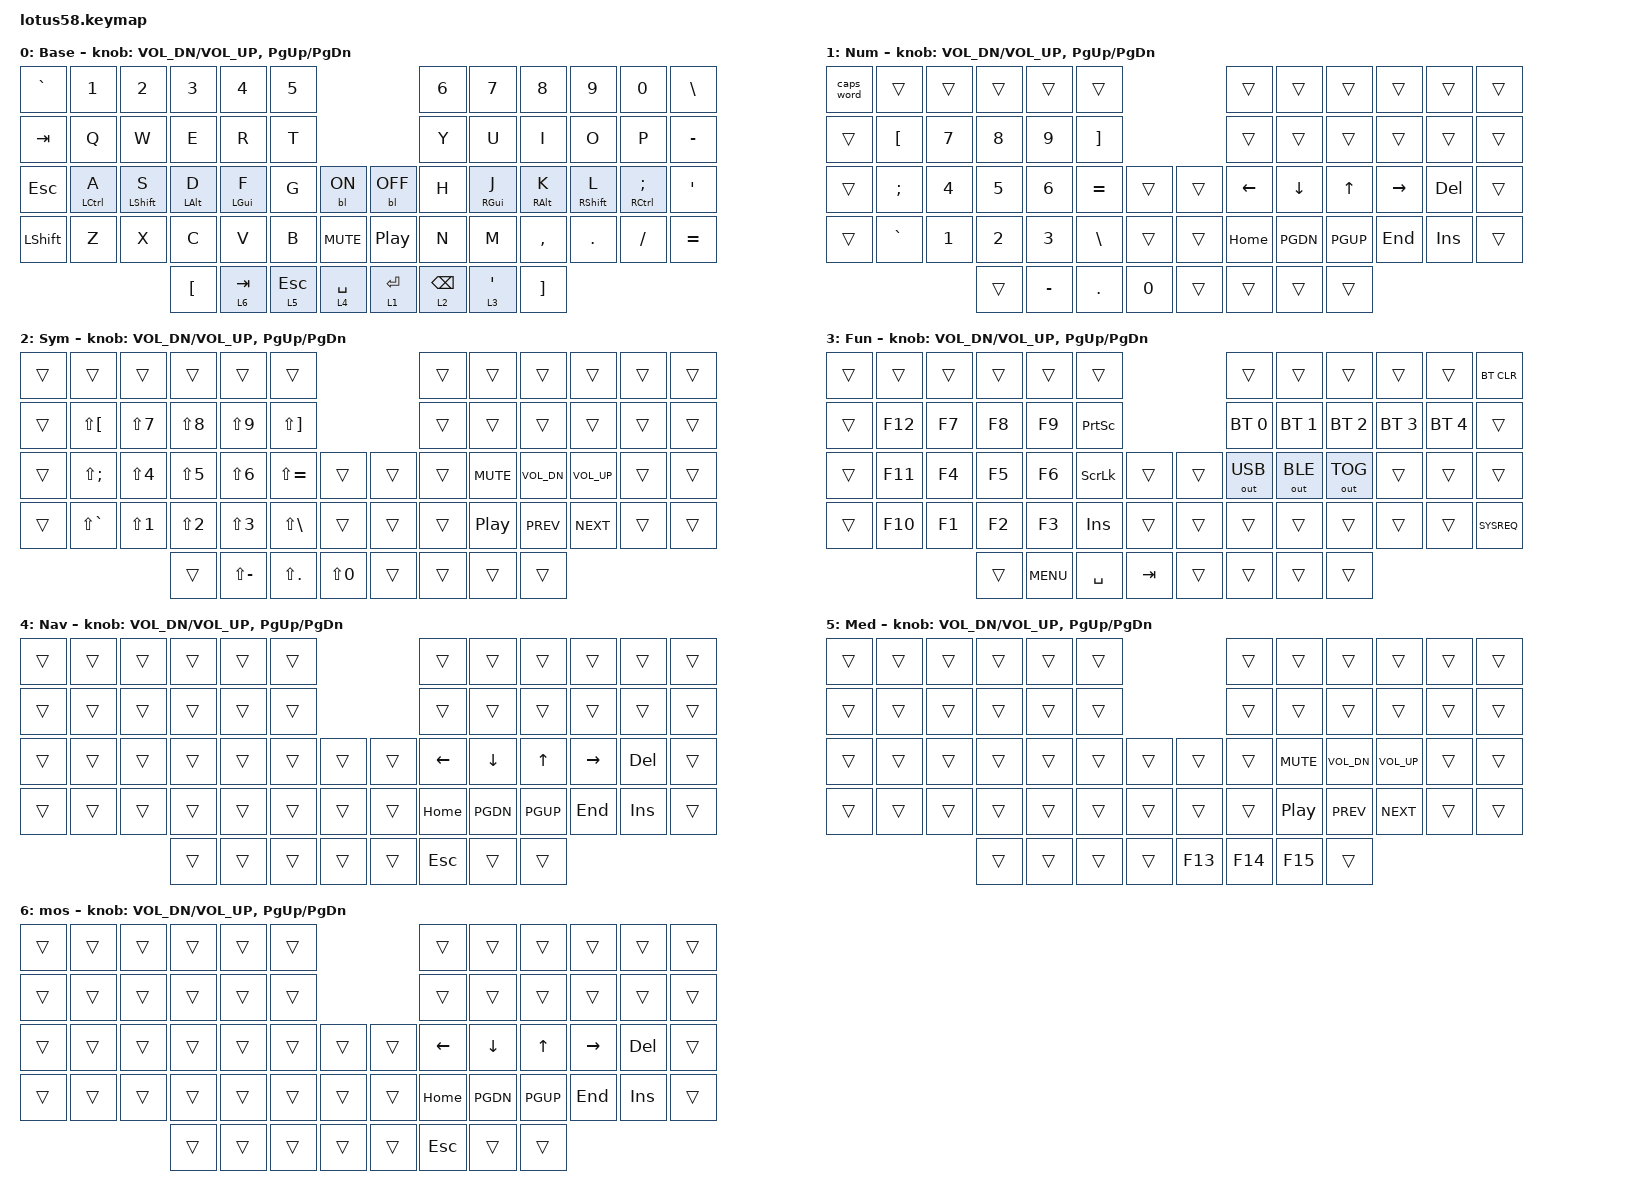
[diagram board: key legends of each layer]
/*
 * Copyright (c) 2022 The ZMK Contributors
 *
 * SPDX-License-Identifier: MIT
 */

#include <behaviors.dtsi>
#include <dt-bindings/zmk/backlight.h>
#include <dt-bindings/zmk/bt.h>
#include <dt-bindings/zmk/keys.h>
#include <dt-bindings/zmk/outputs.h>

#define NUM_L 1
#define SYM_L 2
#define FUN_L 3
#define NAV_L 4
#define MED_L 5
#define MOS_L 6

// Using layer taps on thumbs, having quick tap as well helps w/ repeating space/backspace

&lt {
    quick_tap_ms = <200>;
};

/ {
    combos {
        compatible = "zmk,combos";

        combo_dsklg {
            timeout-ms = <100>;
            key-positions = <24 52>;
            layers = <0>;
            bindings = <&kp LGUI>;
        };
    };

    behaviors {
        hm: homerow_mods {
            compatible = "zmk,behavior-hold-tap";
            label = "HOMEROW_MODS";
            #binding-cells = <2>;
            tapping-term-ms = <250>;
            quick-tap-ms = <200>;
            flavor = "tap-preferred";
            bindings = <&kp>, <&kp>;
        };
    };

    //   -------------------------------------------------------------------------------------------------------------
    //  0|   `   |  1  |  2  |  3  |   4   |    5   |                    |    6   |  7    |  8  |  9   |   0   |  \  | 11
    // 12|  TAB  |  Q  |  W  |  E  |   R   |    T   |                    |    Y   |  U    |  I  |  O   |   P   |  -  | 23
    // 24|  CAPS |  A  |  S  |  D  |   F   |    G   |  RESET  |  | RESET |    H   |  J    |  K  |  L   |   ;   |  '  | 37
    // 38| SHIFT |  Z  |  X  |  C  |   V   |    B   |  MUTE   |  | PLAY  |    N   |  M    |  ,  |  .   |   /   |  \  | 51
    // 52                    |  [  |MOS TAB|MED CAPS|NAV SPACE|  |NUM RET|SYM BSPC|FUN SQT|  ]  |                      59

    keymap {
        compatible = "zmk,keymap";

        default_layer {
            label = "Base";
            bindings = <
&kp GRAVE  &kp N1       &kp N2       &kp N3      &kp N4      &kp N5                                 &kp N6      &kp N7      &kp N8      &kp N9       &kp N0          &kp BSLH
&kp TAB    &kp Q        &kp W        &kp E       &kp R       &kp T                                  &kp Y       &kp U       &kp I       &kp O        &kp P           &kp MINUS
&kp ESC    &hm LCTRL A  &hm LSHFT S  &hm LALT D  &hm LGUI F  &kp G         &bl BL_ON    &bl BL_OFF  &kp H       &hm RGUI J  &hm RALT K  &hm RSHFT L  &hm RCTRL SEMI  &kp SQT
&kp LSHFT  &kp Z        &kp X        &kp C       &kp V       &kp B         &kp C_MUTE   &kp C_PP    &kp N       &kp M       &kp COMMA   &kp DOT      &kp FSLH        &kp EQUAL
                                     &kp LBKT    &lt 6 TAB   &lt 5 ESCAPE  &lt 4 SPACE  &lt 1 RET   &lt 2 BSPC  &lt 3 SQT   &kp RBKT
            >;

            sensor-bindings = <&inc_dec_kp C_VOL_DN C_VOL_UP &inc_dec_kp PG_UP PG_DN>;
        };

        num_layer {
            label = "Num";
            bindings = <
&caps_word  &trans     &trans  &trans  &trans     &trans                      &trans    &trans    &trans    &trans     &trans   &trans
&trans      &kp LBKT   &kp N7  &kp N8  &kp N9     &kp RBKT                    &trans    &trans    &trans    &trans     &trans   &trans
&trans      &kp SEMI   &kp N4  &kp N5  &kp N6     &kp EQUAL   &trans  &trans  &kp LEFT  &kp DOWN  &kp UP    &kp RIGHT  &kp DEL  &trans
&trans      &kp GRAVE  &kp N1  &kp N2  &kp N3     &kp BSLH    &trans  &trans  &kp HOME  &kp PGDN  &kp PGUP  &kp END    &kp INS  &trans
                               &trans  &kp MINUS  &kp PERIOD  &kp N0  &trans  &trans    &trans    &trans
            >;

            sensor-bindings = <&inc_dec_kp C_VOL_DN C_VOL_UP &inc_dec_kp PG_UP PG_DN>;
        };

        sym_layer {
            label = "Sym";
            bindings = <
&trans  &trans         &trans      &trans      &trans         &trans                              &trans  &trans      &trans        &trans        &trans  &trans
&trans  &kp LS(LBKT)   &kp LS(N7)  &kp LS(N8)  &kp LS(N9)     &kp LS(RBKT)                        &trans  &trans      &trans        &trans        &trans  &trans
&trans  &kp LS(SEMI)   &kp LS(N4)  &kp LS(N5)  &kp LS(N6)     &kp LS(EQUAL)   &trans      &trans  &trans  &kp C_MUTE  &kp C_VOL_DN  &kp C_VOL_UP  &trans  &trans
&trans  &kp LS(GRAVE)  &kp LS(N1)  &kp LS(N2)  &kp LS(N3)     &kp LS(BSLH)    &trans      &trans  &trans  &kp C_PP    &kp C_PREV    &kp C_NEXT    &trans  &trans
                                   &trans      &kp LS(MINUS)  &kp LS(PERIOD)  &kp LS(N0)  &trans  &trans  &trans      &trans
            >;

            sensor-bindings = <&inc_dec_kp C_VOL_DN C_VOL_UP &inc_dec_kp PG_UP PG_DN>;
        };

        fun_layer {
            label = "Fun";
            bindings = <
&trans  &trans   &trans  &trans  &trans      &trans                      &trans        &trans        &trans        &trans        &trans        &bt BT_CLR
&trans  &kp F12  &kp F7  &kp F8  &kp F9      &kp PSCRN                   &bt BT_SEL 0  &bt BT_SEL 1  &bt BT_SEL 2  &bt BT_SEL 3  &bt BT_SEL 4  &trans
&trans  &kp F11  &kp F4  &kp F5  &kp F6      &kp SLCK   &trans   &trans  &out OUT_USB  &out OUT_BLE  &out OUT_TOG  &trans        &trans        &trans
&trans  &kp F10  &kp F1  &kp F2  &kp F3      &kp INS    &trans   &trans  &trans        &trans        &trans        &trans        &trans        &kp SYSREQ
                         &trans  &kp C_MENU  &kp SPACE  &kp TAB  &trans  &trans        &trans        &trans
            >;

            sensor-bindings = <&inc_dec_kp C_VOL_DN C_VOL_UP &inc_dec_kp PG_UP PG_DN>;
        };

        nav_layer {
            label = "Nav";
            bindings = <
&trans  &trans  &trans  &trans  &trans  &trans                  &trans    &trans    &trans    &trans     &trans   &trans
&trans  &trans  &trans  &trans  &trans  &trans                  &trans    &trans    &trans    &trans     &trans   &trans
&trans  &trans  &trans  &trans  &trans  &trans  &trans  &trans  &kp LEFT  &kp DOWN  &kp UP    &kp RIGHT  &kp DEL  &trans
&trans  &trans  &trans  &trans  &trans  &trans  &trans  &trans  &kp HOME  &kp PGDN  &kp PGUP  &kp END    &kp INS  &trans
                        &trans  &trans  &trans  &trans  &trans  &kp ESC   &trans    &trans
            >;

            sensor-bindings = <&inc_dec_kp C_VOL_DN C_VOL_UP &inc_dec_kp PG_UP PG_DN>;
        };

        med_layer {
            label = "Med";
            bindings = <
&trans  &trans  &trans  &trans  &trans  &trans                   &trans   &trans      &trans        &trans        &trans  &trans
&trans  &trans  &trans  &trans  &trans  &trans                   &trans   &trans      &trans        &trans        &trans  &trans
&trans  &trans  &trans  &trans  &trans  &trans  &trans  &trans   &trans   &kp C_MUTE  &kp C_VOL_DN  &kp C_VOL_UP  &trans  &trans
&trans  &trans  &trans  &trans  &trans  &trans  &trans  &trans   &trans   &kp C_PP    &kp C_PREV    &kp C_NEXT    &trans  &trans
                        &trans  &trans  &trans  &trans  &kp F13  &kp F14  &kp F15     &trans
            >;

            sensor-bindings = <&inc_dec_kp C_VOL_DN C_VOL_UP &inc_dec_kp PG_UP PG_DN>;
        };

        mos_layer {
            label = "mos";
            bindings = <
&trans  &trans  &trans  &trans  &trans  &trans                  &trans    &trans    &trans    &trans     &trans   &trans
&trans  &trans  &trans  &trans  &trans  &trans                  &trans    &trans    &trans    &trans     &trans   &trans
&trans  &trans  &trans  &trans  &trans  &trans  &trans  &trans  &kp LEFT  &kp DOWN  &kp UP    &kp RIGHT  &kp DEL  &trans
&trans  &trans  &trans  &trans  &trans  &trans  &trans  &trans  &kp HOME  &kp PGDN  &kp PGUP  &kp END    &kp INS  &trans
                        &trans  &trans  &trans  &trans  &trans  &kp ESC   &trans    &trans
            >;

            sensor-bindings = <&inc_dec_kp C_VOL_DN C_VOL_UP &inc_dec_kp PG_UP PG_DN>;
        };
    };
};
